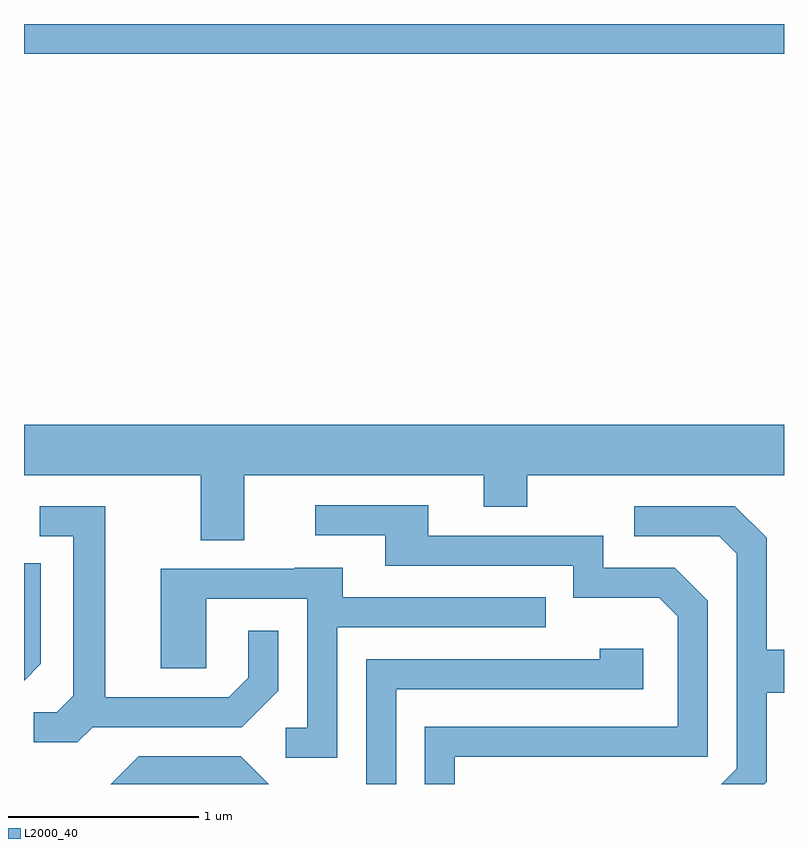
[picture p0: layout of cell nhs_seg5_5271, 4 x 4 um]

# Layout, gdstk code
import gdstk
lib = gdstk.Library(unit=1e-6, precision=1e-09)
def R(c, l, rs):  # rectangles x0, y0, x1, y1
    for r in rs: c.add(gdstk.rectangle(r[:2], r[2:], *l))
def P(c, l, *ps):  # polygons
    for p in ps: c.add(gdstk.Polygon(p, *l))
L2000_40 = (2000, 40)

nhs_seg5_5271 = lib.new_cell('nhs_seg5_5271')
R(nhs_seg5_5271, L2000_40, [(341.611,1447.916,345.611,1448.072)])
P(nhs_seg5_5271, L2000_40, [(342.769,1445.696),(344.031,1445.696),(344.031,1445.531),(344.259,1445.531),(344.259,1445.696),(345.611,1445.696),(345.611,1445.964),(341.611,1445.964),(341.611,1445.696),(342.541,1445.696),(342.541,1445.356),(342.769,1445.356)],
  [(343.879,1444.216),(345.209,1444.216),(345.209,1445.037),(345.037,1445.209),(344.659,1445.209),(344.659,1445.379),(343.739,1445.379),(343.739,1445.539),(343.143,1445.539),(343.143,1445.381),(343.511,1445.381),(343.511,1445.221),(344.501,1445.221),(344.501,1445.051),(344.954,1445.051),(345.051,1444.954),(345.051,1444.374),(343.721,1444.374),(343.721,1444.072),(343.879,1444.072)],
  [(341.972,1444.371),(342.757,1444.371),(342.949,1444.564),(342.949,1444.878),(342.791,1444.878),(342.791,1444.632),(342.689,1444.529),(342.039,1444.529),(342.039,1445.534),(341.693,1445.534),(341.693,1445.376),(341.871,1445.376),(341.871,1444.537),(341.784,1444.449),(341.663,1444.449),(341.663,1444.291),(341.892,1444.291)],
  [(345.519,1444.084),(345.519,1444.551),(345.611,1444.551),(345.611,1444.779),(345.519,1444.779),(345.519,1445.367),(345.352,1445.534),(344.823,1445.534),(344.823,1445.376),(345.269,1445.376),(345.361,1445.284),(345.361,1444.152),(345.282,1444.072),(345.507,1444.072)],
  [(341.699,1444.704),(341.699,1445.233),(341.611,1445.233),(341.611,1444.616)],
  [(343.259,1444.896),(344.358,1444.896),(344.358,1445.054),(343.289,1445.054),(343.289,1445.209),(343.035,1445.209),(343.035,1445.204),(342.331,1445.204),(342.331,1444.681),(342.569,1444.681),(342.569,1445.046),(343.101,1445.046),(343.101,1444.369),(342.988,1444.369),(342.988,1444.211),(343.259,1444.211)],
  [(343.569,1444.571),(344.869,1444.571),(344.869,1444.784),(344.641,1444.784),(344.641,1444.729),(343.411,1444.729),(343.411,1444.072),(343.569,1444.072)],
  [(342.752,1444.219),(342.214,1444.219),(342.067,1444.072),(342.899,1444.072)])

lib.write_gds('nhs_seg5_5271.gds')
